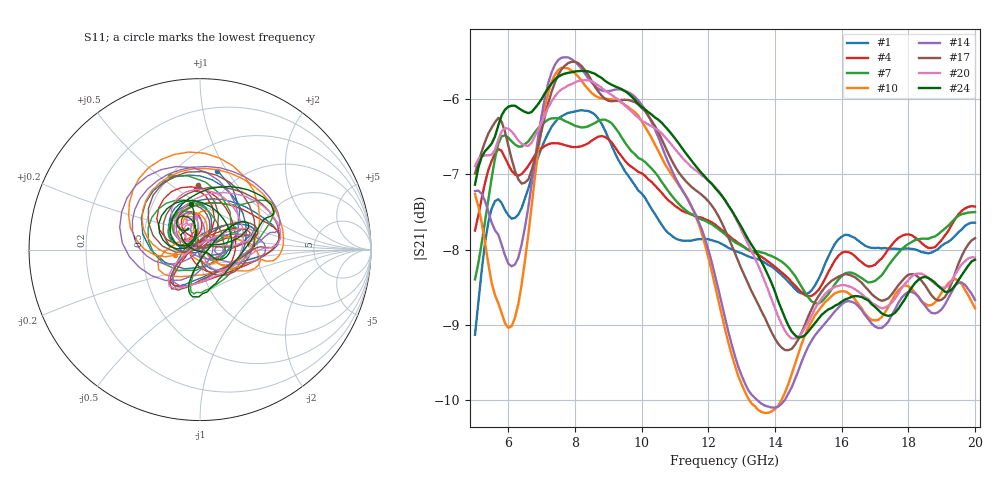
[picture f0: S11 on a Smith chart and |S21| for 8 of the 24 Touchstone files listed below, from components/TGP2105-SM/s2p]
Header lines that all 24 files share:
! Comments:
!^VDC(V):5.000
!%Freq(GHz),S11(dB),S11(ang),S21(dB),S21(ang),S12(dB),S12(ang),S22(dB),S22(ang)
# GHz  S  DB  R  50
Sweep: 5 GHz to 20 GHz
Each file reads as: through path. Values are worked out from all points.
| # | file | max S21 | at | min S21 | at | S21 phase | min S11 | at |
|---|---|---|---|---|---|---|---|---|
| 1 | TGP2105-SM_EVB01_25C_Phase40.s2p | -6.15 dB | 8.2 GHz | -9.1 dB | 5 GHz | 164 deg at 12.5 GHz | -41.0 dB | 8.7 GHz |
| 2 | TGP2105-SM_EVB01_25C_Phase41.s2p | -6.17 dB | 8.3 GHz | -8.8 dB | 5 GHz | 169 deg at 12.5 GHz | -34.4 dB | 9.7 GHz |
| 3 | TGP2105-SM_EVB01_25C_Phase42.s2p | -6.40 dB | 8.8 GHz | -8.6 dB | 15.1 GHz | 175 deg at 12.5 GHz | -32.1 dB | 5.5 GHz |
| 4 | TGP2105-SM_EVB01_25C_Phase43.s2p | -6.49 dB | 8.8 GHz | -8.6 dB | 15 GHz | -180 deg at 12.5 GHz | -28.8 dB | 18.1 GHz |
| 5 | TGP2105-SM_EVB01_25C_Phase44.s2p | -6.03 dB | 8.3 GHz | -9.7 dB | 5 GHz | -170 deg at 12.5 GHz | -41.6 dB | 8.8 GHz |
| 6 | TGP2105-SM_EVB01_25C_Phase45.s2p | -6.05 dB | 8.4 GHz | -9.2 dB | 5 GHz | -166 deg at 12.5 GHz | -33.9 dB | 10 GHz |
| 7 | TGP2105-SM_EVB01_25C_Phase46.s2p | -6.25 dB | 7.4 GHz | -8.7 dB | 15.3 GHz | -160 deg at 12.5 GHz | -42.0 dB | 9.1 GHz |
| 8 | TGP2105-SM_EVB01_25C_Phase47.s2p | -6.33 dB | 5.9 GHz | -8.7 dB | 15.2 GHz | -154 deg at 12.5 GHz | -34.7 dB | 18.3 GHz |
| 9 | TGP2105-SM_EVB01_25C_Phase48.s2p | -5.55 dB | 7.5 GHz | -9.7 dB | 13.6 GHz | -155 deg at 12.5 GHz | -33.3 dB | 11.3 GHz |
| 10 | TGP2105-SM_EVB01_25C_Phase49.s2p | -5.58 dB | 7.6 GHz | -10.2 dB | 13.7 GHz | -151 deg at 12.5 GHz | -36.4 dB | 19.4 GHz |
| 11 | TGP2105-SM_EVB01_25C_Phase50.s2p | -5.84 dB | 7.5 GHz | -9.2 dB | 14 GHz | -143 deg at 12.5 GHz | -26.8 dB | 17.6 GHz |
| 12 | TGP2105-SM_EVB01_25C_Phase51.s2p | -5.91 dB | 8.2 GHz | -9.6 dB | 14.1 GHz | -138 deg at 12.5 GHz | -26.2 dB | 9 GHz |
| 13 | TGP2105-SM_EVB01_25C_Phase52.s2p | -5.42 dB | 7.5 GHz | -9.6 dB | 13.8 GHz | -131 deg at 12.5 GHz | -35.2 dB | 11.6 GHz |
| 14 | TGP2105-SM_EVB01_25C_Phase53.s2p | -5.44 dB | 7.7 GHz | -10.1 dB | 14 GHz | -127 deg at 12.5 GHz | -37.3 dB | 11.6 GHz |
| 15 | TGP2105-SM_EVB01_25C_Phase54.s2p | -5.67 dB | 7.5 GHz | -9.3 dB | 15.4 GHz | -119 deg at 12.5 GHz | -40.3 dB | 17.7 GHz |
| 16 | TGP2105-SM_EVB01_25C_Phase55.s2p | -5.79 dB | 8.1 GHz | -9.6 dB | 14.3 GHz | -114 deg at 12.5 GHz | -42.3 dB | 17.8 GHz |
| 17 | TGP2105-SM_EVB01_25C_Phase56.s2p | -5.50 dB | 8 GHz | -9.3 dB | 14.4 GHz | -106 deg at 12.5 GHz | -39.1 dB | 5.6 GHz |
| 18 | TGP2105-SM_EVB01_25C_Phase57.s2p | -5.51 dB | 8.1 GHz | -9.8 dB | 14.4 GHz | -102 deg at 12.5 GHz | -48.7 dB | 8.6 GHz |
| 19 | TGP2105-SM_EVB01_25C_Phase58.s2p | -5.66 dB | 7.9 GHz | -8.9 dB | 17.1 GHz | -94 deg at 12.5 GHz | -33.3 dB | 18 GHz |
| 20 | TGP2105-SM_EVB01_25C_Phase59.s2p | -5.75 dB | 8.3 GHz | -9.2 dB | 14.6 GHz | -88 deg at 12.5 GHz | -36.3 dB | 9.1 GHz |
| 21 | TGP2105-SM_EVB01_25C_Phase60.s2p | -5.39 dB | 7.9 GHz | -9.3 dB | 14.5 GHz | -81 deg at 12.5 GHz | -37.5 dB | 8.6 GHz |
| 22 | TGP2105-SM_EVB01_25C_Phase61.s2p | -5.40 dB | 8.1 GHz | -9.8 dB | 14.6 GHz | -76 deg at 12.5 GHz | -50.6 dB | 8.7 GHz |
| 23 | TGP2105-SM_EVB01_25C_Phase62.s2p | -5.51 dB | 7.8 GHz | -9.0 dB | 17.3 GHz | -69 deg at 12.5 GHz | -34.2 dB | 9.4 GHz |
| 24 | TGP2105-SM_EVB01_25C_Phase63.s2p | -5.63 dB | 8.2 GHz | -9.2 dB | 14.7 GHz | -63 deg at 12.5 GHz | -39.1 dB | 9.3 GHz |
